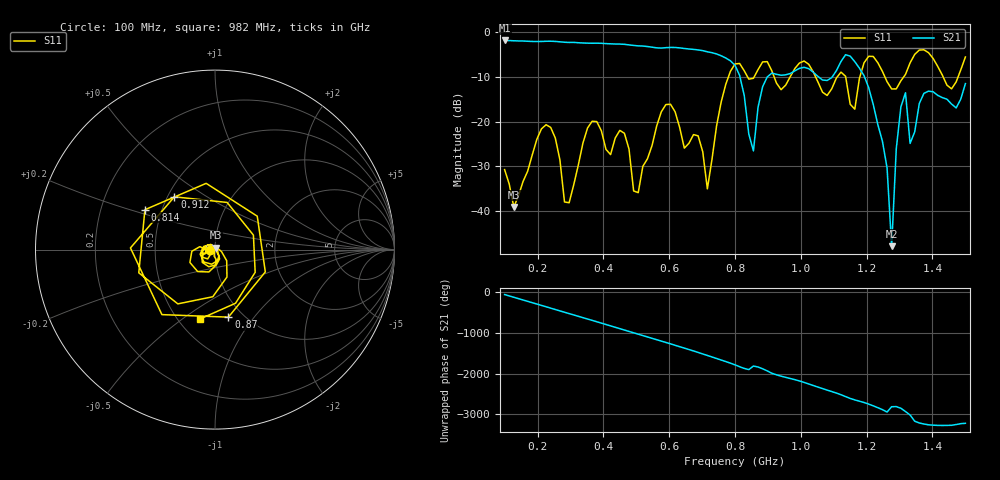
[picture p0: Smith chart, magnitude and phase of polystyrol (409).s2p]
! NanoVNA-App
! Date: 2025-09-25 15:33:04
! Start: 100MHz Stop: 1,5GHz Points: 101
! S-Parameter data: F S11 S21 S12 S22
# Hz S RI R 50
!  Frequency  S11_Real  S11_Imag  S21_Real  S21_Imag  S12_Real  S12_Imag  S22_Real  S22_Imag
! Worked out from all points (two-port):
!   101 points, 100 MHz to 1.5 GHz, reference 50 ohm
!   highest |S21| = -1.80 dB at 100 MHz (marker M1); lowest = -47.8 dB at 1.276 GHz (marker M2)
!   |S21| within 3 dB of the highest: start of sweep to 743.1 MHz
!   lowest |S11| = -39.1 dB at 128 MHz (marker M3), VSWR 1.02, Z = 50.3 + j1.06 ohm
!   |S11| at or under -10 dB: start of sweep to 779.8 MHz; 1.045 GHz to 1.11 GHz (65.12 MHz wide, 6.04 % of centre); 1.256 GHz to 1.312 GHz (56.38 MHz wide, 4.39 % of centre) (the widest 3 of 7)
!   S12 and S22 are empty: the file has one direction only
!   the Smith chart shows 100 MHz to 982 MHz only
!   S11 on the Smith chart (normalised r, x): 100 MHz: 0.94, -0.01; 814 MHz: 0.40, +0.22; 870 MHz: 0.85, -0.75; 912 MHz: 0.54, +0.37; 982 MHz: 0.64, -0.58
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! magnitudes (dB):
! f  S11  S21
! 100 MHz  -30.7  -1.8
! 128 MHz  -39.1  -1.9
! 212 MHz  -21.6  -2.0
! 282 MHz  -37.9  -2.2
! 338 MHz  -24.8  -2.4
! 464 MHz  -22.6  -2.7
! 506 MHz  -35.9  -3.0
! 576 MHz  -17.8  -3.5
! 716 MHz  -35.0  -4.3
! 800 MHz  -7.1  -7.4
! 814 MHz  -6.9  -9.6
! 856 MHz  -10.3  -26.5
! 870 MHz  -8.3  -16.8
! 912 MHz  -8.6  -9.1
! 982 MHz  -8.1  -8.6
! 1.038 GHz  -8.9  -8.9
! 1.192 GHz  -6.8  -9.7
! 1.262 GHz  -11.0  -30.3
! 1.276 GHz  -12.7  -47.8
! 1.318 GHz  -9.4  -13.5
! 1.332 GHz  -6.8  -24.8
! 1.5 GHz  -5.5  -11.4
